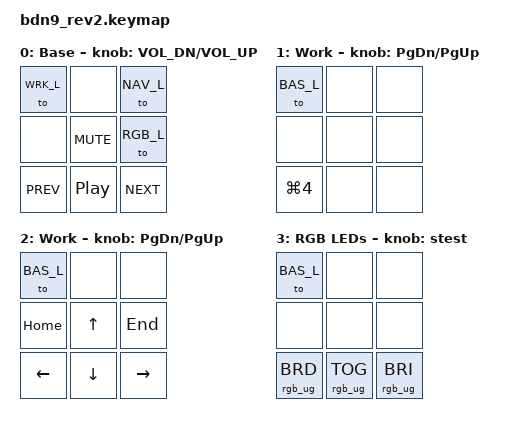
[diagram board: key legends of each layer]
/*
 * Copyright (c) 2020 The ZMK Contributors
 *
 * SPDX-License-Identifier: MIT
 */

#include <behaviors.dtsi>
#include <dt-bindings/zmk/keys.h>
#include <dt-bindings/zmk/rgb.h>

#define BAS_L 0
#define WRK_L 1
#define NAV_L 2
#define RGB_L 3 

//Uncomment and keep whatever encoders are on your BDN9
&sensors {
	status = "okay";
	sensors = <&mid_encoder>;
};

// Uncomment each encoder installed on your BDN9
// &left_encoder { status = "okay"; };
&mid_encoder { status = "okay"; };
// &right_encoder { status = "okay"; };


/ {
    behaviors {
        stest: stest {
           compatible = "zmk,behavior-sensor-rotate";
           label = "sensor test";
           #sensor-binding-cells = <0>;
           bindings = <&rgb_ug RGB_BRD>, <&rgb_ug RGB_BRI>;
        };
    };

    keymap {
		compatible = "zmk,keymap";

		base_layer {
			label = "Base";
			bindings = <
				&to WRK_L   &none             &to NAV_L
				&none       &kp C_MUTE        &to RGB_L
				&kp C_PREV  &kp C_PLAY_PAUSE  &kp C_NEXT
			>;
			sensor-bindings = <&inc_dec_kp C_VOL_DN C_VOL_UP>;
		};

		work_layer {
			label = "Work";
			bindings = <
				&to BAS_L   &none  &none
				&none       &none  &none
				&kp LG(N4)  &none  &none
			>;
			sensor-bindings = <&inc_dec_kp PG_DN PG_UP>;
		};

		nav_layer {
			label = "Work";
			bindings = <
				&to BAS_L  &none     &none
				&kp HOME   &kp UP    &kp END 
				&kp LEFT   &kp DOWN  &kp RIGHT
			>;
			sensor-bindings = <&inc_dec_kp PG_DN PG_UP>;
		};
		
		rgb_layer {
			label = "RGB LEDs";
			bindings = <
				&to BAS_L        &none            &none
				&none            &none            &none
				&rgb_ug RGB_BRD  &rgb_ug RGB_TOG  &rgb_ug RGB_BRI
			>;
			sensor-bindings = <&stest>;
		};
	};
};

